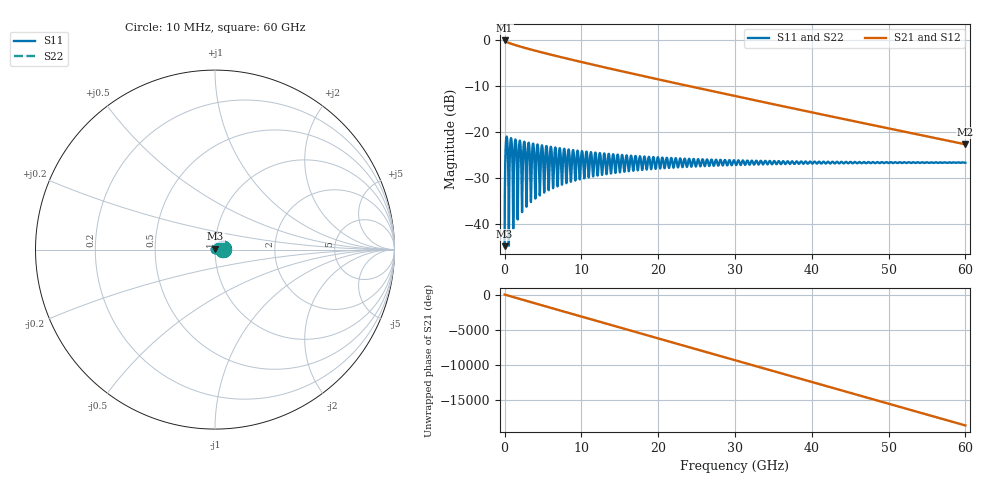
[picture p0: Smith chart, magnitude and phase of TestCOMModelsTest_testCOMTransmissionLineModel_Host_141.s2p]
! File created by SignalIntegrity v1.3.5: Signal and Power Integrity Tools
! https://github.com/TeledyneLeCroy/SignalIntegrity
# MHz S MA R 50.0
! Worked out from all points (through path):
!   6000 points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, 10 MHz to 60 GHz, reference 50 ohm
!   highest |S21| = -0.05 dB at 10 MHz (marker M1); lowest = -22.6 dB at 60 GHz (marker M2)
!   group delay of S21, straight-line fit = 858 ps
!   lowest |S11| = -44.8 dB at 10 MHz (marker M3), VSWR 1.01, Z = 50.1 + j0.57 ohm
!   |S11| at or under -10 dB: start of sweep to end of sweep
!   |S22| runs from -44.8 to -21.0 dB; largest |S21 - S12| = 0
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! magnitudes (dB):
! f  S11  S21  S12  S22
! 10 MHz  -44.8  -0.1  -0.1  -44.8
! 220 MHz  -21.4  -0.3  -0.3  -21.4
! 490 MHz  -29.1  -0.5  -0.5  -29.1
! 850 MHz  -21.3  -0.8  -0.8  -21.3
! 1.1 GHz  -34.8  -0.9  -0.9  -34.8
! 1.42 GHz  -21.6  -1.1  -1.1  -21.6
! 1.67 GHz  -33.8  -1.2  -1.2  -33.8
! 1.99 GHz  -21.8  -1.4  -1.4  -21.8
! 2.25 GHz  -34.2  -1.5  -1.5  -34.2
! 2.57 GHz  -22.1  -1.6  -1.6  -22.1
! 2.83 GHz  -34.2  -1.7  -1.7  -34.2
! 3.14 GHz  -22.3  -1.9  -1.9  -22.3
! 3.41 GHz  -34.0  -2.0  -2.0  -34.0
! 3.72 GHz  -22.5  -2.2  -2.2  -22.5
! 3.98 GHz  -32.9  -2.3  -2.3  -32.9
! 4.29 GHz  -22.7  -2.4  -2.4  -22.7
! 10.01 GHz  -24.7  -4.7  -4.7  -24.7
! 20.01 GHz  -25.6  -8.5  -8.5  -25.6
! 30.01 GHz  -26.6  -12.1  -12.1  -26.6
! 40.01 GHz  -26.8  -15.7  -15.7  -26.8
! 50.01 GHz  -26.7  -19.2  -19.2  -26.7
! 60 GHz  -26.6  -22.6  -22.6  -26.6
